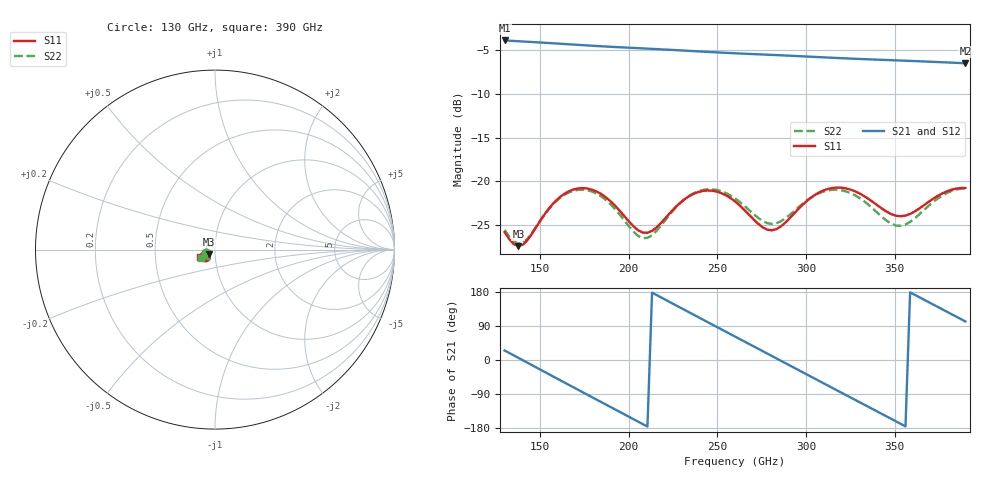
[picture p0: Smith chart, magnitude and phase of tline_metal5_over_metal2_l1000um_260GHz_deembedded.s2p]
! Created with skrf 2.2.0 (http://scikit-rf.org).
# GHz S DB R 50.0
! Port[1] = P1
! Port[2] = P2
!freq dBS11 angS11 dBS21 angS21 dBS12 angS12 dBS22 angS22
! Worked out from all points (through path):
!   101 points, 130 GHz to 390 GHz, reference 50 ohm
!   highest |S21| = -3.93 dB at 130 GHz (marker M1); lowest = -6.5 dB at 390 GHz (marker M2)
!   group delay of S21, straight-line fit = 6.87 ps
!   lowest |S11| = -27.4 dB at 137.8 GHz (marker M3), VSWR 1.09, Z = 46.7 - j2.5 ohm
!   |S11| at or under -10 dB: start of sweep to end of sweep
!   |S22| runs from -27.1 to -20.8 dB; largest |S21 - S12| = 1.1e-13
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130  -25.80 -158.2  -3.93 25.1  -3.93 25.1  -25.54 -158.7
137.8  -27.39 -141.2  -4.02 5.6  -4.02 5.6  -27.09 -143.3
153.4  -23.51 -121.3  -4.20 -33.5  -4.20 -33.5  -23.57 -123.9
163.8  -21.41 -130.4  -4.33 -59.5  -4.33 -59.5  -21.53 -132.6
174.2  -20.77 -143.8  -4.46 -85.4  -4.46 -85.4  -20.95 -145.8
184.6  -21.46 -156.3  -4.59 -111.2  -4.59 -111.2  -21.72 -158.2
197.6  -23.97 -162.4  -4.73 -143.5  -4.73 -143.5  -24.46 -163.8
208  -25.84 -150.3  -4.83 -169.3  -4.83 -169.3  -26.47 -149.2
218.4  -24.71 -134.2  -4.94 164.9  -4.94 164.9  -25.00 -131.1
239.2  -21.21 -142.2  -5.17 113.3  -5.17 113.3  -21.13 -139.8
249.6  -21.16 -153.1  -5.28 87.6  -5.28 87.6  -20.97 -151.0
260  -22.28 -161.7  -5.39 61.9  -5.39 61.9  -21.94 -159.7
273  -24.82 -159.6  -5.51 29.9  -5.51 29.9  -24.15 -159.0
283.4  -25.44 -143.1  -5.60 4.2  -5.60 4.2  -24.77 -146.1
293.8  -23.57 -132.9  -5.69 -21.5  -5.69 -21.5  -23.30 -137.5
304.2  -21.66 -135.8  -5.80 -47.2  -5.80 -47.2  -21.68 -140.2
314.6  -20.76 -144.6  -5.90 -72.8  -5.90 -72.8  -20.96 -148.8
325  -20.93 -154.0  -5.99 -98.4  -5.99 -98.4  -21.31 -158.1
335.4  -22.01 -159.9  -6.08 -123.9  -6.08 -123.9  -22.68 -163.6
348.4  -23.75 -155.5  -6.18 -155.9  -6.18 -155.9  -24.85 -156.1
366.6  -22.72 -140.4  -6.32 159.3  -6.32 159.3  -23.27 -135.7
390  -20.75 -151.8  -6.52 101.8  -6.52 101.8  -20.80 -148.3
